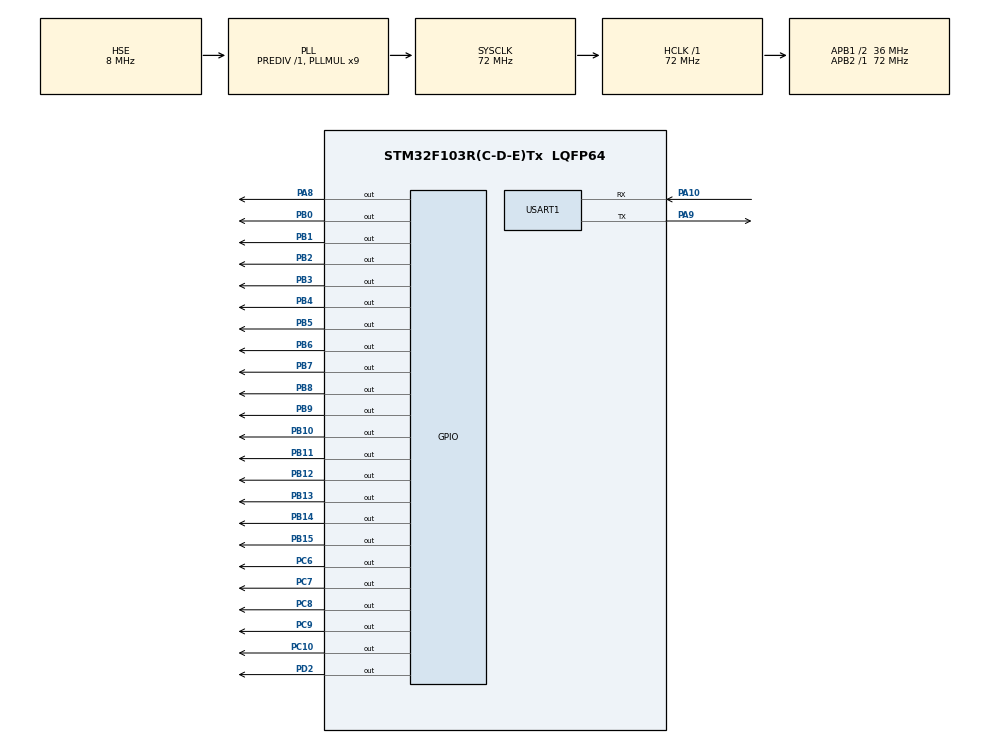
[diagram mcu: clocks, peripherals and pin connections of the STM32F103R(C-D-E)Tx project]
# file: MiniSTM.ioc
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Mcu.Family=STM32F1
Mcu.Name=STM32F103R(C-D-E)Tx
Mcu.Package=LQFP64
NVIC.PriorityGroup=NVIC_PRIORITYGROUP_4
PA10.Mode=Asynchronous
PA10.Signal=USART1_RX
PA13.Mode=Serial_Wire
PA13.Signal=SYS_JTMS-SWDIO
PA14.Mode=Serial_Wire
PA14.Signal=SYS_JTCK-SWCLK
PA8.GPIO_PuPd=GPIO_PULLUP
PA8.Signal=GPIO_Output
PA9.Mode=Asynchronous
PA9.Signal=USART1_TX
PB0.GPIO_PuPd=GPIO_PULLUP
PB0.GPIO_Speed=GPIO_SPEED_FREQ_HIGH
PB0.Signal=GPIO_Output
PB1.GPIO_PuPd=GPIO_PULLUP
PB1.GPIO_Speed=GPIO_SPEED_FREQ_HIGH
PB1.Signal=GPIO_Output
PB10.GPIO_PuPd=GPIO_PULLUP
PB10.GPIO_Speed=GPIO_SPEED_FREQ_HIGH
PB10.Signal=GPIO_Output
PB11.GPIO_PuPd=GPIO_PULLUP
PB11.GPIO_Speed=GPIO_SPEED_FREQ_HIGH
PB11.Signal=GPIO_Output
PB12.GPIO_PuPd=GPIO_PULLUP
PB12.GPIO_Speed=GPIO_SPEED_FREQ_HIGH
PB12.Signal=GPIO_Output
PB13.GPIO_PuPd=GPIO_PULLUP
PB13.GPIO_Speed=GPIO_SPEED_FREQ_HIGH
PB13.Signal=GPIO_Output
PB14.GPIO_PuPd=GPIO_PULLUP
PB14.GPIO_Speed=GPIO_SPEED_FREQ_HIGH
PB14.Signal=GPIO_Output
PB15.GPIO_PuPd=GPIO_PULLUP
PB15.GPIO_Speed=GPIO_SPEED_FREQ_HIGH
PB15.Signal=GPIO_Output
PB2.GPIO_PuPd=GPIO_PULLUP
PB2.GPIO_Speed=GPIO_SPEED_FREQ_HIGH
PB2.Signal=GPIO_Output
PB3.GPIO_PuPd=GPIO_PULLUP
PB3.GPIO_Speed=GPIO_SPEED_FREQ_HIGH
PB3.Signal=GPIO_Output
PB4.GPIO_PuPd=GPIO_PULLUP
PB4.GPIO_Speed=GPIO_SPEED_FREQ_HIGH
PB4.Signal=GPIO_Output
PB5.GPIO_PuPd=GPIO_PULLUP
PB5.GPIO_Speed=GPIO_SPEED_FREQ_HIGH
PB5.Signal=GPIO_Output
PB6.GPIO_PuPd=GPIO_PULLUP
PB6.GPIO_Speed=GPIO_SPEED_FREQ_HIGH
PB6.Signal=GPIO_Output
PB7.GPIO_PuPd=GPIO_PULLUP
PB7.GPIO_Speed=GPIO_SPEED_FREQ_HIGH
PB7.Signal=GPIO_Output
PB8.GPIO_PuPd=GPIO_PULLUP
PB8.GPIO_Speed=GPIO_SPEED_FREQ_HIGH
PB8.Signal=GPIO_Output
PB9.GPIO_PuPd=GPIO_PULLUP
PB9.GPIO_Speed=GPIO_SPEED_FREQ_HIGH
PB9.Signal=GPIO_Output
PC10.GPIO_PuPd=GPIO_PULLUP
PC10.GPIO_Speed=GPIO_SPEED_FREQ_HIGH
PC10.Signal=GPIO_Output
PC14-OSC32_IN.Mode=LSE-External-Oscillator
PC14-OSC32_IN.Signal=RCC_OSC32_IN
PC15-OSC32_OUT.Mode=LSE-External-Oscillator
PC15-OSC32_OUT.Signal=RCC_OSC32_OUT
PC6.GPIO_PuPd=GPIO_PULLUP
PC6.GPIO_Speed=GPIO_SPEED_FREQ_HIGH
PC6.Signal=GPIO_Output
PC7.GPIO_PuPd=GPIO_PULLUP
PC7.GPIO_Speed=GPIO_SPEED_FREQ_HIGH
PC7.Signal=GPIO_Output
PC8.GPIO_PuPd=GPIO_PULLUP
PC8.GPIO_Speed=GPIO_SPEED_FREQ_HIGH
PC8.Signal=GPIO_Output
PC9.GPIO_PuPd=GPIO_PULLUP
PC9.GPIO_Speed=GPIO_SPEED_FREQ_HIGH
PC9.Signal=GPIO_Output
PD0-OSC_IN.Mode=HSE-External-Oscillator
PD0-OSC_IN.Signal=RCC_OSC_IN
PD1-OSC_OUT.Mode=HSE-External-Oscillator
PD1-OSC_OUT.Signal=RCC_OSC_OUT
PD2.GPIO_PuPd=GPIO_PULLUP
PD2.Signal=GPIO_Output
ProjectManager.HeapSize=0x200
ProjectManager.StackSize=0x400
ProjectManager.TargetToolchain=MDK-ARM V5.32
RCC.AHBFreq_Value=72000000
RCC.APB1CLKDivider=RCC_HCLK_DIV2
RCC.APB1Freq_Value=36000000
RCC.APB1TimFreq_Value=72000000
RCC.APB2Freq_Value=72000000
RCC.APB2TimFreq_Value=72000000
RCC.HCLKFreq_Value=72000000
RCC.PLLMUL=RCC_PLL_MUL9
RCC.PLLSourceVirtual=RCC_PLLSOURCE_HSE
RCC.SYSCLKFreq_VALUE=72000000
RCC.SYSCLKSource=RCC_SYSCLKSOURCE_PLLCLK
RCC.USBFreq_Value=72000000
TIM4.AutoReloadPreload=TIM_AUTORELOAD_PRELOAD_DISABLE
TIM4.Channel-Output\ Compare1\ No\ Output=TIM_CHANNEL_1
TIM4.Period=1000
TIM4.Prescaler=8399
USART1.VirtualMode=VM_ASYNC
VP_TIM4_VS_ClockSourceITR.Mode=TriggerSource_ITR0
board=custom

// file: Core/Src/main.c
/* USER CODE BEGIN Header */
/**
 ******************************************************************************
 * @file           : main.c
 * @brief          : Main program body
 ******************************************************************************
 * @attention
 *
 * Copyright (c) 2022 STMicroelectronics.
 * All rights reserved.
 *
 * This software is licensed under terms that can be found in the LICENSE file
 * in the root directory of this software component.
 * If no LICENSE file comes with this software, it is provided AS-IS.
 *
 ******************************************************************************
 */
/* USER CODE END Header */
#include "main.h"
#include "tim.h"
#include "usart.h"
#include "gpio.h"

/* USER CODE BEGIN Includes */
#include "led.h"
#include "lcd.h"
#include "uart.h"
#include "usmart.h"
/* USER CODE END Includes */

void SystemClock_Config(void);

/* USER CODE BEGIN 0 */
//LED状态设置函数
void led_set(uint8_t sta)
{
	LED1=sta;
}
//函数参数调用测试函数
void test_fun(void(*ledset)(uint8_t),uint8_t sta)
{
	ledset(sta);
}
/* USER CODE END 0 */

int main(void)
{
  /* USER CODE BEGIN 1 */
	uint8_t lcd_id[12];
  /* USER CODE END 1 */

  /* MCU Configuration--------------------------------------------------------*/

  /* Reset of all peripherals, Initializes the Flash interface and the Systick. */
  HAL_Init();

  /* Configure the system clock */
  SystemClock_Config();

  /* Initialize all configured peripherals */
  MX_GPIO_Init();
  MX_USART1_UART_Init();
  MX_TIM4_Init();
  /* USER CODE BEGIN 2 */
	LCD_Init();

  HAL_NVIC_EnableIRQ(TIM4_IRQn);
	HAL_NVIC_SetPriority(TIM4_IRQn,9,0);
	HAL_TIM_Base_Start_IT(&htim4);

	HAL_NVIC_EnableIRQ(USART1_IRQn);
	HAL_NVIC_SetPriority(USART1_IRQn,9,0);
	HAL_UART_Receive_IT(&huart1, (uint8_t *)aRxBuffer, RXBUFFERSIZE);

	POINT_COLOR = RED;
	sprintf((char *)lcd_id, "LCD ID:%04X", lcddev.id);
	LCD_ShowString(30, 40, 200, 24, 24, "Mini STM32 ^_^");
	LCD_ShowString(30, 70, 200, 16, 16, "TFTLCD TEST");
	LCD_ShowString(30, 90, 200, 16, 16, "ATOM@ALIENTEK");
	LCD_ShowString(30, 110, 200, 16, 16, lcd_id); //显示LCD ID
	LCD_ShowString(30, 130, 200, 12, 12, "2019/11/15");
  /* USER CODE END 2 */

  /* Infinite loop */
  /* USER CODE BEGIN WHILE */
	while (1)
	{
		LED0 = !LED0;
		HAL_Delay(1000);
    /* USER CODE END WHILE */

	}
}

void SystemClock_Config(void)
{
  RCC_OscInitTypeDef RCC_OscInitStruct = {0};
  RCC_ClkInitTypeDef RCC_ClkInitStruct = {0};

  /** Initializes the RCC Oscillators according to the specified parameters
  * in the RCC_OscInitTypeDef structure.
  */
  RCC_OscInitStruct.OscillatorType = RCC_OSCILLATORTYPE_HSE;
  RCC_OscInitStruct.HSEState = RCC_HSE_ON;
  RCC_OscInitStruct.HSEPredivValue = RCC_HSE_PREDIV_DIV1;
  RCC_OscInitStruct.HSIState = RCC_HSI_ON;
  RCC_OscInitStruct.PLL.PLLState = RCC_PLL_ON;
  RCC_OscInitStruct.PLL.PLLSource = RCC_PLLSOURCE_HSE;
  RCC_OscInitStruct.PLL.PLLMUL = RCC_PLL_MUL9;
  if (HAL_RCC_OscConfig(&RCC_OscInitStruct) != HAL_OK)
  {
    Error_Handler();
  }

  /** Initializes the CPU, AHB and APB buses clocks
  */
  RCC_ClkInitStruct.ClockType = RCC_CLOCKTYPE_HCLK|RCC_CLOCKTYPE_SYSCLK
                              |RCC_CLOCKTYPE_PCLK1|RCC_CLOCKTYPE_PCLK2;
  RCC_ClkInitStruct.SYSCLKSource = RCC_SYSCLKSOURCE_PLLCLK;
  RCC_ClkInitStruct.AHBCLKDivider = RCC_SYSCLK_DIV1;
  RCC_ClkInitStruct.APB1CLKDivider = RCC_HCLK_DIV2;
  RCC_ClkInitStruct.APB2CLKDivider = RCC_HCLK_DIV1;

  if (HAL_RCC_ClockConfig(&RCC_ClkInitStruct, FLASH_LATENCY_2) != HAL_OK)
  {
    Error_Handler();
  }
}

void Error_Handler(void)
{
	__disable_irq();
	while (1)
	{
	}
}
